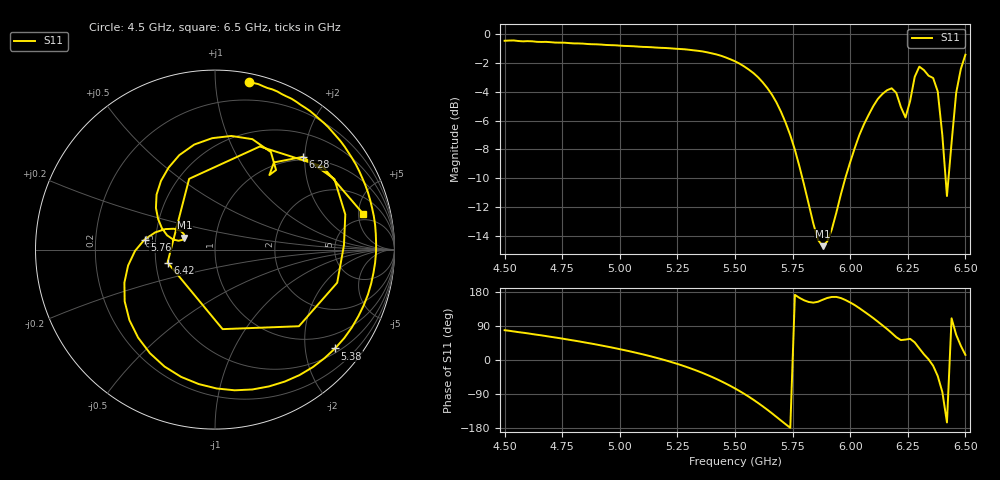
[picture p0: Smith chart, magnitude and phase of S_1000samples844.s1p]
! TOUCHSTONE file generated by CST MICROWAVE STUDIO
! Date and time: Sat Oct 29 14:06:34 2022
! Project name: L.cst
! Parameters = {Di=1.27; Epsilon_r=1.56; InnerDiameter=1.27; Length=2; Lf=10; Lg=60; OuterConductorThickness=0.2921; OuterDiameter=3.6; Wf=3; Wp=41.2; de=1.5; df=6.8; g=0.8; gx=4.39024; gy=1.10485; h=2.34; hf=1.524; px=8.85673; py=12.787; w=9.7; wx=4.46649; wy=11.6821}
! Header version: 2018
! Port assignment regex: !\s*Touchstone port\s*([0-9]+)\s*=\s*(CST MWS port|CST DS port)\s*([0-9]+|Zmin|Zmax)\s*\(\"(.*)\"\)(\s*mode\s*([0-9]+))?.*
! Touchstone port assignment:
! Touchstone port 1 = CST MWS port 1 ("")
# GHz S DB R 50
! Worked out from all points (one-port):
!   101 points, 4.5 GHz to 6.5 GHz, reference 50 ohm
!   lowest |S11| = -14.7 dB at 5.88 GHz (marker M1), VSWR 1.45, Z = 35.1 + j4.81 ohm
!   |S11| at or under -10 dB: 5.792 GHz to 5.979 GHz (186.4 MHz wide, 3.17 % of centre); 6.414085 GHz to 6.426727 GHz (12.64 MHz wide, 0.197 % of centre)
!   S11 on the Smith chart (normalised r, x): 4.5 GHz: 0.06, +1.22; 5.38 GHz: 0.60, -2.67; 5.76 GHz: 0.43, +0.06; 6.28 GHz: 0.93, +1.96; 6.42 GHz: 0.58, -0.09; 6.5 GHz: 4.01, +5.73
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4.5  -0.44 78.6
4.76  -0.57 55.5
5  -0.77 28.6
5.26  -1.01 -12.3
5.38  -1.25 -39.5
5.5  -1.87 -75.0
5.58  -2.69 -104.9
5.66  -4.18 -140.5
5.7  -5.39 -160.0
5.76  -8.03 171.9
5.88  -14.74 158.8
5.94  -12.40 166.4
6  -8.89 151.8
6.08  -5.60 119.5
6.14  -4.14 91.5
6.2  -4.07 60.2
6.24  -5.78 53.9
6.26  -4.64 55.9
6.28  -2.95 46.6
6.32  -2.48 15.1
6.36  -3.03 -15.1
6.38  -3.97 -42.4
6.4  -7.03 -84.5
6.42  -11.25 -164.8
6.44  -7.54 110.1
6.46  -4.06 66.5
6.48  -2.41 37.7
6.5  -1.41 13.4
